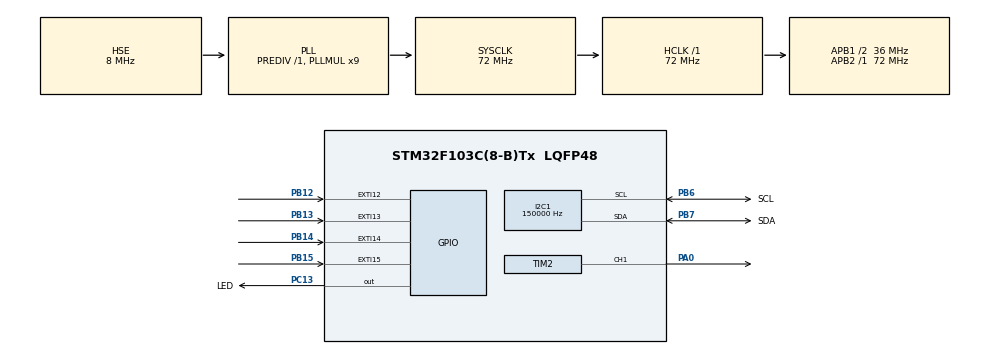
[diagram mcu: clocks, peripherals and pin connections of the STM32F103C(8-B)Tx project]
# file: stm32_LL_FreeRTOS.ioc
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Dma.Request0=TIM2_CH1
Dma.TIM2_CH1.0.Direction=DMA_MEMORY_TO_PERIPH
Dma.TIM2_CH1.0.Instance=DMA1_Channel5
Dma.TIM2_CH1.0.MemDataAlignment=DMA_MDATAALIGN_HALFWORD
Dma.TIM2_CH1.0.MemInc=DMA_MINC_ENABLE
Dma.TIM2_CH1.0.Mode=DMA_NORMAL
Dma.TIM2_CH1.0.PeriphDataAlignment=DMA_PDATAALIGN_HALFWORD
Dma.TIM2_CH1.0.PeriphInc=DMA_PINC_DISABLE
Dma.TIM2_CH1.0.Priority=DMA_PRIORITY_LOW
FREERTOS.INCLUDE_vTaskCleanUpResources=0
FREERTOS.Tasks01=defaultTask,24,128,StartDefaultTask,Default,NULL,Dynamic,NULL,NULL;ticksPerSec,8,128,StartTicksPerSec,Default,NULL,Dynamic,NULL,NULL
FREERTOS.configGENERATE_RUN_TIME_STATS=1
FREERTOS.configRECORD_STACK_HIGH_ADDRESS=1
FREERTOS.configTOTAL_HEAP_SIZE=8192
FREERTOS.configUSE_NEWLIB_REENTRANT=1
I2C1.ClockSpeed=150000
I2C1.I2C_Mode=I2C_Fast
I2C1.NoStretchMode=I2C_NOSTRETCH_ENABLE
I2C1.OwnAddress=0x48
Mcu.Family=STM32F1
Mcu.Name=STM32F103C(8-B)Tx
Mcu.Package=LQFP48
NVIC.DMA1_Channel5_IRQn=true\:5\:0\:false\:false\:true\:true\:false\:true\:true
NVIC.EXTI15_10_IRQn=true\:5\:0\:false\:false\:true\:true\:true\:true\:true
NVIC.I2C1_ER_IRQn=true\:5\:0\:false\:false\:true\:true\:true\:true\:true
NVIC.I2C1_EV_IRQn=true\:5\:0\:false\:false\:true\:true\:true\:true\:true
NVIC.PriorityGroup=NVIC_PRIORITYGROUP_4
NVIC.TIM1_UP_IRQn=true\:15\:0\:false\:false\:true\:false\:false\:true\:true
NVIC.TimeBase=TIM1_UP_IRQn
NVIC.TimeBaseIP=TIM1
PA0-WKUP.Signal=S_TIM2_CH1_ETR
PA13.Mode=Serial_Wire
PA13.Signal=SYS_JTMS-SWDIO
PA14.Mode=Serial_Wire
PA14.Signal=SYS_JTCK-SWCLK
PB12.GPIO_ModeDefaultEXTI=GPIO_MODE_IT_FALLING
PB12.Signal=GPXTI12
PB13.GPIO_ModeDefaultEXTI=GPIO_MODE_IT_FALLING
PB13.Signal=GPXTI13
PB14.GPIO_ModeDefaultEXTI=GPIO_MODE_IT_FALLING
PB14.Signal=GPXTI14
PB15.GPIO_ModeDefaultEXTI=GPIO_MODE_IT_FALLING
PB15.Signal=GPXTI15
PB6.GPIO_Label=SCL
PB6.Mode=I2C
PB6.Signal=I2C1_SCL
PB7.GPIO_Label=SDA
PB7.Mode=I2C
PB7.Signal=I2C1_SDA
PC13-TAMPER-RTC.GPIO_Label=LED
PC13-TAMPER-RTC.Signal=GPIO_Output
PC14-OSC32_IN.Mode=LSE-External-Oscillator
PC14-OSC32_IN.Signal=RCC_OSC32_IN
PC15-OSC32_OUT.Mode=LSE-External-Oscillator
PC15-OSC32_OUT.Signal=RCC_OSC32_OUT
PD0-OSC_IN.Mode=HSE-External-Oscillator
PD0-OSC_IN.Signal=RCC_OSC_IN
PD1-OSC_OUT.Mode=HSE-External-Oscillator
PD1-OSC_OUT.Signal=RCC_OSC_OUT
ProjectManager.HeapSize=0x200
ProjectManager.StackSize=0x400
ProjectManager.TargetToolchain=STM32CubeIDE
RCC.AHBFreq_Value=72000000
RCC.APB1CLKDivider=RCC_HCLK_DIV2
RCC.APB1Freq_Value=36000000
RCC.APB1TimFreq_Value=72000000
RCC.APB2Freq_Value=72000000
RCC.APB2TimFreq_Value=72000000
RCC.HCLKFreq_Value=72000000
RCC.PLLMUL=RCC_PLL_MUL9
RCC.PLLSourceVirtual=RCC_PLLSOURCE_HSE
RCC.SYSCLKFreq_VALUE=72000000
RCC.SYSCLKSource=RCC_SYSCLKSOURCE_PLLCLK
RCC.USBFreq_Value=72000000
SH.S_TIM2_CH1_ETR.0=TIM2_CH1,PWM Generation1 CH1
TIM2.Channel-PWM\ Generation1\ CH1=TIM_CHANNEL_1
TIM2.OCMode_PWM-PWM\ Generation1\ CH1=TIM_OCMODE_PWM1
TIM2.Period=100-1
TIM2.Prescaler=72-1
VP_FREERTOS_VS_CMSIS_V2.Mode=CMSIS_V2
VP_SYS_VS_tim1.Mode=TIM1
VP_TIM2_VS_ClockSourceINT.Mode=Internal
board=custom

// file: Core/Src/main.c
/* USER CODE BEGIN Header */
/**
  ******************************************************************************
  * @file           : main.c
  * @brief          : Main program body
  ******************************************************************************
  * @attention
  *
  * Copyright (c) 2022 STMicroelectronics.
  * All rights reserved.
  *
  * This software is licensed under terms that can be found in the LICENSE file
  * in the root directory of this software component.
  * If no LICENSE file comes with this software, it is provided AS-IS.
  *
  ******************************************************************************
  */
/* USER CODE END Header */
#include "main.h"
#include "cmsis_os.h"
#include "dma.h"
#include "i2c.h"
#include "tim.h"
#include "gpio.h"

void SystemClock_Config(void);

void MX_FREERTOS_Init(void);

int main(void) {

    /* MCU Configuration--------------------------------------------------------*/

    /* Reset of all peripherals, Initializes the Flash interface and the Systick. */
    HAL_Init();

    /* Configure the system clock */
    SystemClock_Config();

    /* Initialize all configured peripherals */
    MX_GPIO_Init();
    MX_DMA_Init();
    MX_I2C1_Init();
    MX_TIM2_Init();
    /* USER CODE BEGIN 2 */
//    TIM2->CCR1 = 50;
//    HAL_TIM_PWM_Start(&htim2, TIM_CHANNEL_1);
    /* USER CODE END 2 */

    /* Init scheduler */
    osKernelInitialize();  /* Call init function for freertos objects (in freertos.c) */
    MX_FREERTOS_Init();

    /* Start scheduler */
    osKernelStart();

    /* We should never get here as control is now taken by the scheduler */
    /* Infinite loop */
    while (1) {

    }
}

void SystemClock_Config(void) {
    RCC_OscInitTypeDef RCC_OscInitStruct = {0};
    RCC_ClkInitTypeDef RCC_ClkInitStruct = {0};

    /** Initializes the RCC Oscillators according to the specified parameters
    * in the RCC_OscInitTypeDef structure.
    */
    RCC_OscInitStruct.OscillatorType = RCC_OSCILLATORTYPE_HSE;
    RCC_OscInitStruct.HSEState = RCC_HSE_ON;
    RCC_OscInitStruct.HSEPredivValue = RCC_HSE_PREDIV_DIV1;
    RCC_OscInitStruct.HSIState = RCC_HSI_ON;
    RCC_OscInitStruct.PLL.PLLState = RCC_PLL_ON;
    RCC_OscInitStruct.PLL.PLLSource = RCC_PLLSOURCE_HSE;
    RCC_OscInitStruct.PLL.PLLMUL = RCC_PLL_MUL9;
    if (HAL_RCC_OscConfig(&RCC_OscInitStruct) != HAL_OK) {
        Error_Handler();
    }

    /** Initializes the CPU, AHB and APB buses clocks
    */
    RCC_ClkInitStruct.ClockType = RCC_CLOCKTYPE_HCLK | RCC_CLOCKTYPE_SYSCLK
                                  | RCC_CLOCKTYPE_PCLK1 | RCC_CLOCKTYPE_PCLK2;
    RCC_ClkInitStruct.SYSCLKSource = RCC_SYSCLKSOURCE_PLLCLK;
    RCC_ClkInitStruct.AHBCLKDivider = RCC_SYSCLK_DIV1;
    RCC_ClkInitStruct.APB1CLKDivider = RCC_HCLK_DIV2;
    RCC_ClkInitStruct.APB2CLKDivider = RCC_HCLK_DIV1;

    if (HAL_RCC_ClockConfig(&RCC_ClkInitStruct, FLASH_LATENCY_2) != HAL_OK) {
        Error_Handler();
    }
}

void HAL_TIM_PeriodElapsedCallback(TIM_HandleTypeDef *htim) {
    if (htim->Instance == TIM1) {
        HAL_IncTick();
    }
}

void Error_Handler(void) {
    __disable_irq();
    while (1) {
    }
}

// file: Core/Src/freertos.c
/* USER CODE BEGIN Header */
/**
  ******************************************************************************
  * File Name          : freertos.c
  * Description        : Code for freertos applications
  ******************************************************************************
  * @attention
  *
  * Copyright (c) 2022 STMicroelectronics.
  * All rights reserved.
  *
  * This software is licensed under terms that can be found in the LICENSE file
  * in the root directory of this software component.
  * If no LICENSE file comes with this software, it is provided AS-IS.
  *
  ******************************************************************************
  */
/* USER CODE END Header */

#include "FreeRTOS.h"
#include "task.h"
#include "main.h"
#include "cmsis_os.h"

/* USER CODE BEGIN Includes */
#include "tim.h"
/* USER CODE END Includes */

/* USER CODE BEGIN Variables */
uint16_t TicksCounter[CHANNELS] = {0};
uint16_t TicksSec[CHANNELS] = {0};
__IO uint8_t PWM_DutyCycle;
/* USER CODE END Variables */
/* Definitions for defaultTask */
osThreadId_t defaultTaskHandle;
const osThreadAttr_t defaultTask_attributes = {
  .name = "defaultTask",
  .stack_size = 128 * 4,
  .priority = (osPriority_t) osPriorityNormal,
};
/* Definitions for ticksPerSec */
osThreadId_t ticksPerSecHandle;
const osThreadAttr_t ticksPerSec_attributes = {
  .name = "ticksPerSec",
  .stack_size = 128 * 4,
  .priority = (osPriority_t) osPriorityLow,
};

void StartDefaultTask(void *argument);
void StartTicksPerSec(void *argument);

void MX_FREERTOS_Init(void); /* (MISRA C 2004 rule 8.1) */

/* Hook prototypes */
void configureTimerForRunTimeStats(void);
unsigned long getRunTimeCounterValue(void);

/* USER CODE BEGIN 1 */
/* Functions needed when configGENERATE_RUN_TIME_STATS is on */
__weak void configureTimerForRunTimeStats(void) {

}

__weak unsigned long getRunTimeCounterValue(void) {
    return 0;
}
/* USER CODE END 1 */

void MX_FREERTOS_Init(void) {

  /* Create the thread(s) */
  /* creation of defaultTask */
  defaultTaskHandle = osThreadNew(StartDefaultTask, NULL, &defaultTask_attributes);

  /* creation of ticksPerSec */
  ticksPerSecHandle = osThreadNew(StartTicksPerSec, NULL, &ticksPerSec_attributes);

}

void StartDefaultTask(void *argument)
{
  /* USER CODE BEGIN StartDefaultTask */
    /* Infinite loop */
    for (;;) {
//        HAL_GPIO_TogglePin(LED_GPIO_Port, LED_Pin);
        osDelay(1);
    }
  /* USER CODE END StartDefaultTask */
}

void StartTicksPerSec(void *argument)
{
  /* USER CODE BEGIN StartTicksPerSec */
    static uint8_t DutyCycle = 100;;
    TIM2->CCR1 = DutyCycle;
    HAL_TIM_PWM_Start(&htim2, TIM_CHANNEL_1);
    /* Infinite loop */
    /*
     * CCR
     * ---- x 100 = x%
     * ARR
     *        x%
     * CCR = ---- x ARR
     *       100
     *
     */
    for (;;) {
        HAL_GPIO_TogglePin(LED_GPIO_Port, LED_Pin);
        if (100 >= PWM_DutyCycle && PWM_DutyCycle >= 0)
            DutyCycle = 100 - PWM_DutyCycle; // invert value
        TIM2->CCR1 = DutyCycle * (htim2.Init.Period + 1) / 100;
//        TIM2->CCR1 = 20;
//        HAL_NVIC_DisableIRQ(EXTI15_10_IRQn);
        portENTER_CRITICAL();
        for (int i = 0; i < CHANNELS; ++i) {
            TicksSec[i] = TicksCounter[i];
            TicksCounter[i] = 0;
        }
        portEXIT_CRITICAL();
//        HAL_NVIC_EnableIRQ(EXTI15_10_IRQn);

        osDelay(1000 / portTICK_PERIOD_MS);
    }
  /* USER CODE END StartTicksPerSec */
}

/* USER CODE BEGIN Application */
void HAL_GPIO_EXTI_Callback(uint16_t GPIO_Pin) {
    switch (GPIO_Pin) {
        case GPIO_PIN_12:
            TicksCounter[0]++;
            break;
        case GPIO_PIN_13:
            TicksCounter[1]++;
            break;
        case GPIO_PIN_14:
            TicksCounter[2]++;
            break;
        case GPIO_PIN_15:
            TicksCounter[3]++;
            break;
        default:
            __NOP();
            break;
    }
}
/* USER CODE END Application */
